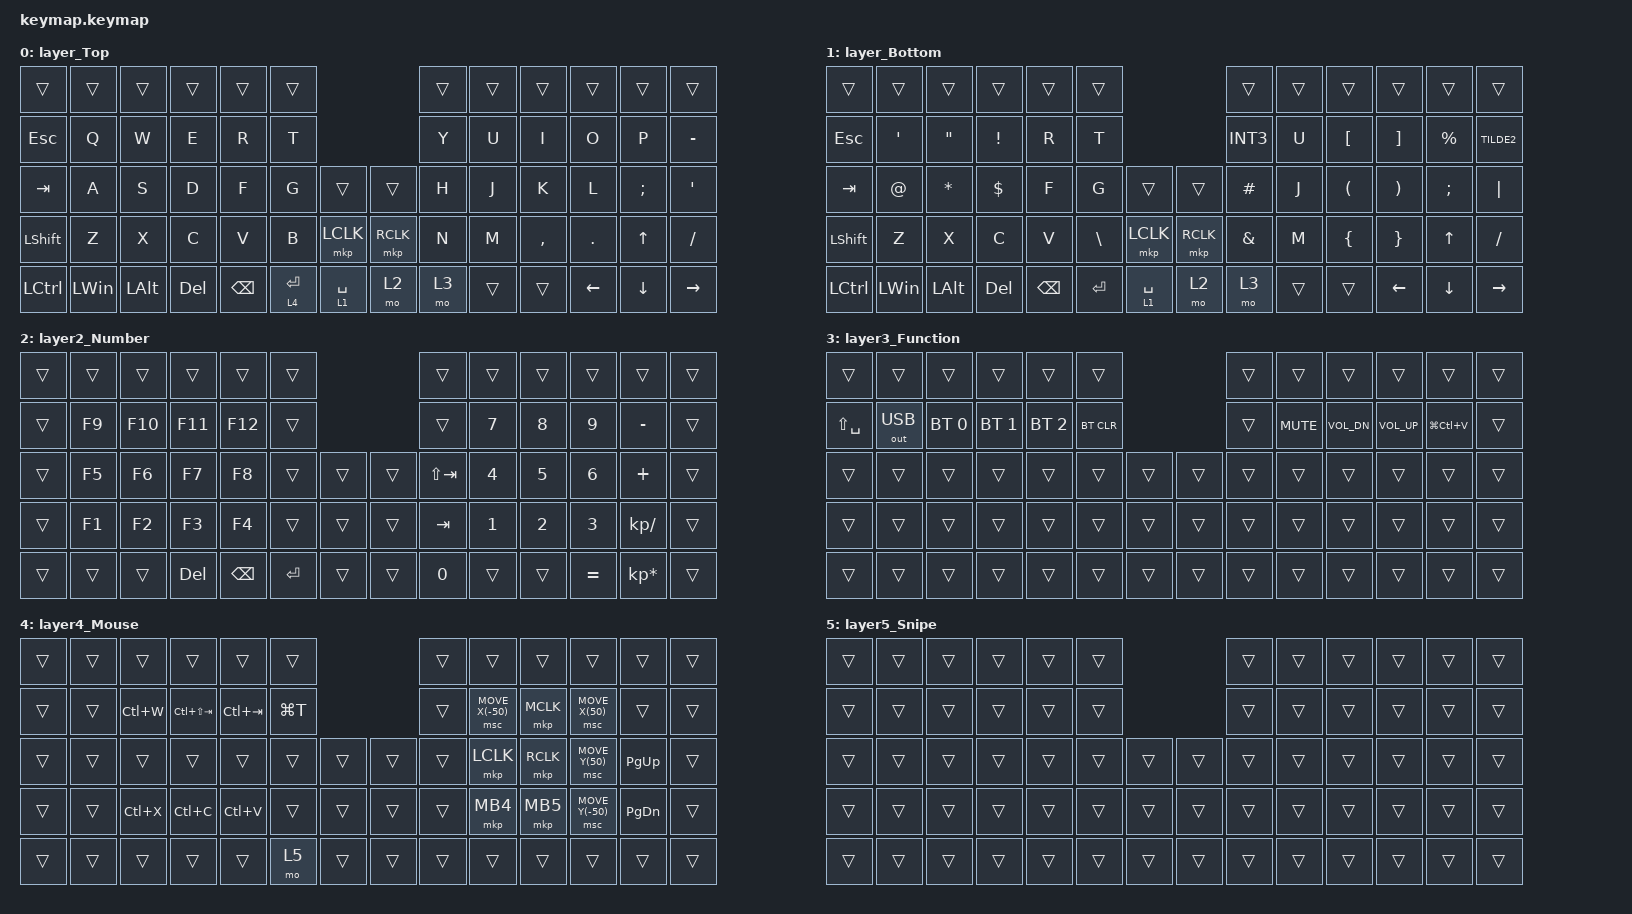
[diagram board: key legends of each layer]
#include <behaviors.dtsi>
#include <dt-bindings/zmk/bt.h>
#include <dt-bindings/zmk/keys.h>
#include <dt-bindings/zmk/outputs.h>
#include <dt-bindings/zmk/pointing.h>
#include <input/processors.dtsi>

/ {
    combos { compatible = "zmk,combos"; };

    zip_temp_layer_custom: zip_temp_layer_custom {
        compatible = "zmk,input-processor-temp-layer";
        #input-processor-cells = <2>;
        require-prior-idle-ms = <150>;
        excluded-positions = <14 15 16 17 19 20 21 33 34 35 36 38 40 41 42 44 45 47 48 49 50 52 53 54 57>;
    };

    keymap {
        compatible = "zmk,keymap";

        layer_Top {
            bindings = <
&trans     &trans        &trans        &trans   &trans         &trans                               &trans  &trans  &trans     &trans    &trans        &trans
&kp ESC    &kp Q         &kp W         &kp E    &kp R          &kp T                                &kp Y   &kp U   &kp I      &kp O     &kp P         &kp MINUS
&kp TAB    &kp A         &kp S         &kp D    &kp F          &kp G        &trans       &trans     &kp H   &kp J   &kp K      &kp L     &kp SEMI      &kp SQT
&kp LSHFT  &kp Z         &kp X         &kp C    &kp V          &kp B        &mkp LCLK    &mkp RCLK  &kp N   &kp M   &kp COMMA  &kp DOT   &kp UP_ARROW  &kp SLASH
&kp LCTRL  &kp LEFT_WIN  &kp LEFT_ALT  &kp DEL  &kp BACKSPACE  &lt 4 ENTER  &lt 1 SPACE  &mo 2      &mo 3   &trans  &trans     &kp LEFT  &kp DOWN      &kp RIGHT
            >;
        };

        layer_Bottom {
            bindings = <
&trans     &trans            &trans             &trans      &trans         &trans                                 &trans         &trans  &trans    &trans    &trans        &trans
&kp ESC    &kp SINGLE_QUOTE  &kp DOUBLE_QUOTES  &kp EXCL    &kp R          &kp T                                  &kp INT3       &kp U   &kp LBKT  &kp RBKT  &kp PERCENT   &kp TILDE2
&kp TAB    &kp AT            &kp ASTRK          &kp DOLLAR  &kp F          &kp G          &trans       &trans     &kp HASH       &kp J   &kp LPAR  &kp RPAR  &kp SEMI      &kp PIPE
&kp LSHFT  &kp Z             &kp X              &kp C       &kp V          &kp BACKSLASH  &mkp LCLK    &mkp RCLK  &kp AMPERSAND  &kp M   &kp LBRC  &kp RBRC  &kp UP_ARROW  &kp SLASH
&kp LCTRL  &kp LEFT_WIN      &kp LEFT_ALT       &kp DEL     &kp BACKSPACE  &kp ENTER      &lt 1 SPACE  &mo 2      &mo 3          &trans  &trans    &kp LEFT  &kp DOWN      &kp RIGHT
            >;
        };

        layer2_Number {
            bindings = <
&trans  &trans  &trans   &trans      &trans         &trans                     &trans       &trans  &trans  &trans     &trans           &trans
&trans  &kp F9  &kp F10  &kp F11     &kp F12        &trans                     &trans       &kp N7  &kp N8  &kp N9     &kp MINUS        &trans
&trans  &kp F5  &kp F6   &kp F7      &kp F8         &trans     &trans  &trans  &kp LS(TAB)  &kp N4  &kp N5  &kp N6     &kp PLUS         &trans
&trans  &kp F1  &kp F2   &kp F3      &kp F4         &trans     &trans  &trans  &kp TAB      &kp N1  &kp N2  &kp N3     &kp KP_DIVIDE    &trans
&trans  &trans  &trans   &kp DELETE  &kp BACKSPACE  &kp ENTER  &trans  &trans  &kp N0       &trans  &trans  &kp EQUAL  &kp KP_MULTIPLY  &trans
            >;
        };

        layer3_Function {
            bindings = <
&trans  &trans        &trans        &trans        &trans        &trans                      &trans  &trans      &trans        &trans        &trans         &trans
&kp LS(SPACE)  &out OUT_USB  &bt BT_SEL 0  &bt BT_SEL 1  &bt BT_SEL 2  &bt BT_CLR                  &trans  &kp C_MUTE  &kp C_VOL_DN  &kp C_VOL_UP  &kp LG(LC(V))  &trans
&trans  &trans        &trans        &trans        &trans        &trans      &trans  &trans  &trans  &trans      &trans        &trans        &trans         &trans
&trans  &trans        &trans        &trans        &trans        &trans      &trans  &trans  &trans  &trans      &trans        &trans        &trans         &trans
&trans  &trans        &trans        &trans        &trans        &trans      &trans  &trans  &trans  &trans      &trans        &trans        &trans         &trans
            >;
        };

        layer4_Mouse {
            bindings = <
&trans  &trans  &trans     &trans           &trans       &trans                     &trans  &trans            &trans     &trans            &trans     &trans
&trans  &trans  &kp LC(W)  &kp LC(LS(TAB))  &kp LC(TAB)  &kp LG(T)                  &trans  &msc MOVE_X(-50)  &mkp MCLK  &msc MOVE_X(50)   &trans     &trans
&trans  &trans  &trans     &trans           &trans       &trans     &trans  &trans  &trans  &mkp LCLK         &mkp RCLK  &msc MOVE_Y(50)   &kp PG_UP  &trans
&trans  &trans  &kp LC(X)  &kp LC(C)        &kp LC(V)    &trans     &trans  &trans  &trans  &mkp MB4          &mkp MB5   &msc MOVE_Y(-50)  &kp PG_DN  &trans
&trans  &trans  &trans     &trans           &trans       &mo 5      &trans  &trans  &trans  &trans            &trans     &trans            &trans     &trans
            >;
        };

        layer5_Snipe {
            bindings = <
&trans  &trans  &trans  &trans  &trans  &trans                  &trans  &trans  &trans  &trans  &trans  &trans
&trans  &trans  &trans  &trans  &trans  &trans                  &trans  &trans  &trans  &trans  &trans  &trans
&trans  &trans  &trans  &trans  &trans  &trans  &trans  &trans  &trans  &trans  &trans  &trans  &trans  &trans
&trans  &trans  &trans  &trans  &trans  &trans  &trans  &trans  &trans  &trans  &trans  &trans  &trans  &trans
&trans  &trans  &trans  &trans  &trans  &trans  &trans  &trans  &trans  &trans  &trans  &trans  &trans  &trans
            >;
        };
    };
};
